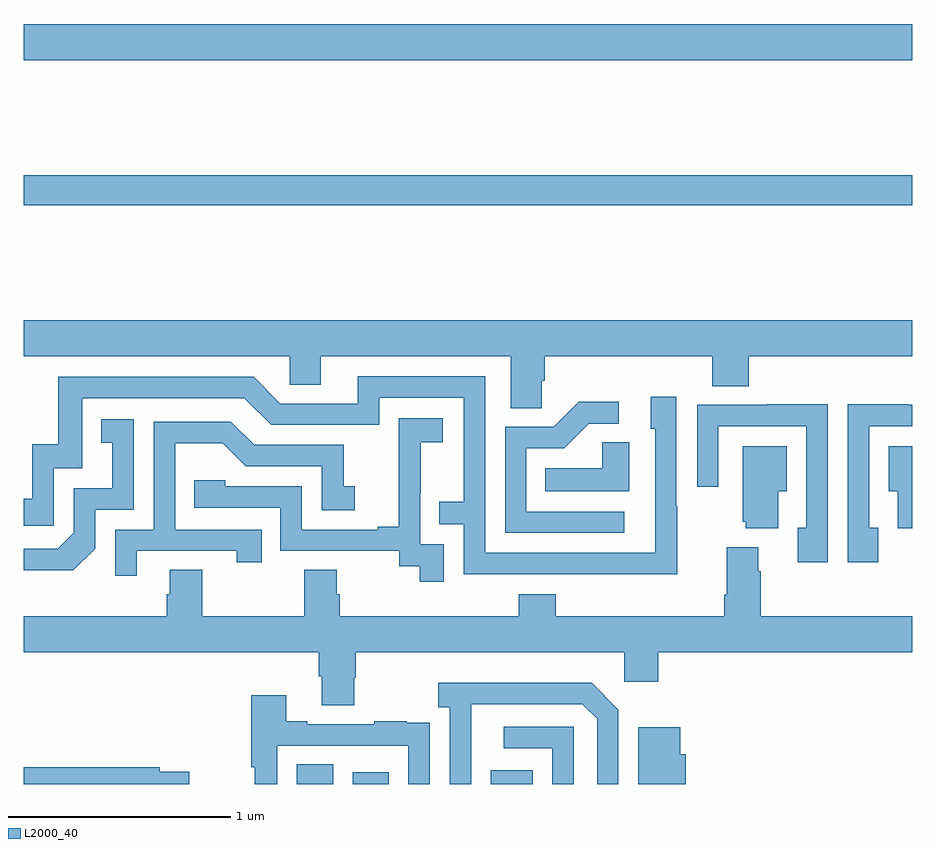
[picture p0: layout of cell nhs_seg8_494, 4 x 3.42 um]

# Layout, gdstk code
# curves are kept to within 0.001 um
import gdstk
lib = gdstk.Library(unit=1e-6, precision=1e-09)
def R(c, l, rs):  # rectangles x0, y0, x1, y1
    for r in rs: c.add(gdstk.rectangle(r[:2], r[2:], *l))
def P(c, l, *ps):  # polygons
    for p in ps: c.add(gdstk.Polygon(p, *l))
L2000_40 = (2000, 40)

nhs_seg8_494 = lib.new_cell('nhs_seg8_494')
R(nhs_seg8_494, L2000_40, [(144.23,1123.9,144.394,1123.988), (144.482,1123.9,144.643,1123.954), (145.103,1123.9,145.291,1123.963), (143,1126.504,147,1126.64), (143,1127.156,147,1127.32)])
P(nhs_seg8_494, L2000_40, [(145.332,1125.715),(145.346,1125.715),(145.346,1125.824),(146.099,1125.824),(146.099,1125.691),(146.264,1125.691),(146.264,1125.824),(147,1125.824),(147,1125.988),(143,1125.988),(143,1125.824),(144.198,1125.824),(144.198,1125.697),(144.337,1125.697),(144.337,1125.824),(145.193,1125.824),(145.193,1125.592),(145.332,1125.592)],
  [(145.941,1125.149),(145.938,1125.149),(145.938,1125.643),(145.823,1125.643),(145.823,1125.498),(145.842,1125.498),(145.842,1124.94),(145.077,1124.94),(145.077,1125.735),(144.503,1125.735),(144.503,1125.612),(144.156,1125.612),(144.036,1125.732),(143.157,1125.732),(143.157,1125.43),(143.039,1125.43),(143.039,1125.183),(143,1125.183),(143,1125.063),(143.136,1125.063),(143.136,1125.321),(143.265,1125.321),(143.265,1125.636),(143.994,1125.636),(144.114,1125.516),(144.6,1125.516),(144.6,1125.639),(144.981,1125.639),(144.981,1125.17),(144.871,1125.17),(144.871,1125.069),(144.981,1125.069),(144.981,1124.844),(145.941,1124.843)],
  [(145.702,1125.126),(145.263,1125.126),(145.263,1125.411),(145.432,1125.411),(145.543,1125.522),(145.678,1125.522),(145.678,1125.62),(145.499,1125.62),(145.386,1125.507),(145.167,1125.507),(145.167,1125.03),(145.702,1125.03)],
  [(146.845,1125.054),(146.805,1125.054),(146.805,1125.51),(147,1125.51),(147,1125.606),(146.981,1125.606),(146.981,1125.608),(146.709,1125.608),(146.709,1124.898),(146.845,1124.898)],
  [(146.619,1125.608),(146.347,1125.608),(146.347,1125.606),(146.031,1125.606),(146.031,1125.237),(146.127,1125.237),(146.127,1125.51),(146.523,1125.51),(146.523,1125.054),(146.483,1125.054),(146.483,1124.898),(146.619,1124.898)],
  [(144.891,1124.979),(144.786,1124.979),(144.786,1125.209),(144.788,1125.209),(144.788,1125.437),(144.886,1125.437),(144.886,1125.547),(144.688,1125.547),(144.688,1125.341),(144.689,1125.341),(144.689,1125.058),(144.593,1125.058),(144.593,1125.045),(144.252,1125.045),(144.252,1125.24),(143.907,1125.24),(143.907,1125.267),(143.767,1125.267),(143.767,1125.144),(144.156,1125.144),(144.156,1124.949),(144.69,1124.949),(144.69,1124.881),(144.783,1124.881),(144.783,1124.811),(144.891,1124.811)],
  [(143.322,1124.958),(143.322,1125.135),(143.496,1125.135),(143.496,1125.541),(143.35,1125.541),(143.35,1125.435),(143.399,1125.435),(143.399,1125.231),(143.226,1125.231),(143.226,1125.03),(143.154,1124.958),(143,1124.958),(143,1124.861),(143.224,1124.861)],
  [(143.509,1124.949),(143.96,1124.949),(143.96,1124.898),(144.071,1124.898),(144.071,1125.045),(143.682,1125.045),(143.682,1125.434),(143.896,1125.434),(144,1125.33),(144.342,1125.33),(144.342,1125.132),(144.49,1125.132),(144.49,1125.241),(144.441,1125.241),(144.441,1125.426),(144.037,1125.426),(143.932,1125.531),(143.586,1125.531),(143.586,1125.045),(143.412,1125.045),(143.412,1124.838),(143.509,1124.838)],
  [(145.726,1125.437),(145.605,1125.437),(145.605,1125.322),(145.348,1125.322),(145.348,1125.218),(145.726,1125.218)],
  [(146.395,1125.218),(146.434,1125.218),(146.434,1125.421),(146.237,1125.421),(146.237,1125.081),(146.249,1125.081),(146.249,1125.05),(146.395,1125.05)],
  [(147,1125.421),(146.894,1125.421),(146.894,1125.218),(146.933,1125.218),(146.933,1125.05),(147,1125.05)],
  [(144.489,1124.379),(144.494,1124.379),(144.494,1124.492),(145.704,1124.492),(145.704,1124.361),(145.856,1124.361),(145.856,1124.492),(147,1124.492),(147,1124.656),(146.318,1124.656),(146.318,1124.858),(146.305,1124.858),(146.305,1124.965),(146.165,1124.965),(146.165,1124.752),(146.153,1124.752),(146.153,1124.656),(145.394,1124.656),(145.394,1124.755),(145.229,1124.755),(145.229,1124.656),(144.422,1124.656),(144.422,1124.754),(144.409,1124.754),(144.409,1124.864),(144.262,1124.864),(144.262,1124.656),(143.805,1124.656),(143.805,1124.864),(143.657,1124.864),(143.657,1124.754),(143.645,1124.754),(143.645,1124.656),(143,1124.656),(143,1124.492),(144.329,1124.492),(144.329,1124.386),(144.341,1124.386),(144.341,1124.254),(144.489,1124.254)],
  [(145.014,1124.059),(145.015,1124.259),(145.515,1124.259),(145.581,1124.193),(145.581,1123.9),(145.677,1123.9),(145.677,1124.235),(145.556,1124.356),(144.867,1124.356),(144.867,1124.246),(144.918,1124.246),(144.918,1123.9),(145.014,1123.9)],
  [(144.141,1124.073),(144.732,1124.073),(144.732,1123.9),(144.828,1123.9),(144.828,1124.066),(144.827,1124.066),(144.827,1124.175),(144.725,1124.175),(144.725,1124.182),(144.577,1124.182),(144.577,1124.169),(144.277,1124.169),(144.277,1124.182),(144.181,1124.182),(144.181,1124.299),(144.025,1124.299),(144.025,1123.976),(144.04,1123.976),(144.04,1123.9),(144.141,1123.9)],
  [(145.476,1124.157),(145.161,1124.157),(145.161,1124.061),(145.38,1124.061),(145.38,1123.9),(145.476,1123.9)],
  [(145.979,1124.034),(145.954,1124.034),(145.954,1124.155),(145.766,1124.155),(145.766,1123.9),(145.979,1123.9)],
  [(143.746,1123.956),(143.612,1123.956),(143.612,1123.976),(143,1123.976),(143,1123.9),(143.746,1123.9)])

lib.write_gds('nhs_seg8_494.gds')
